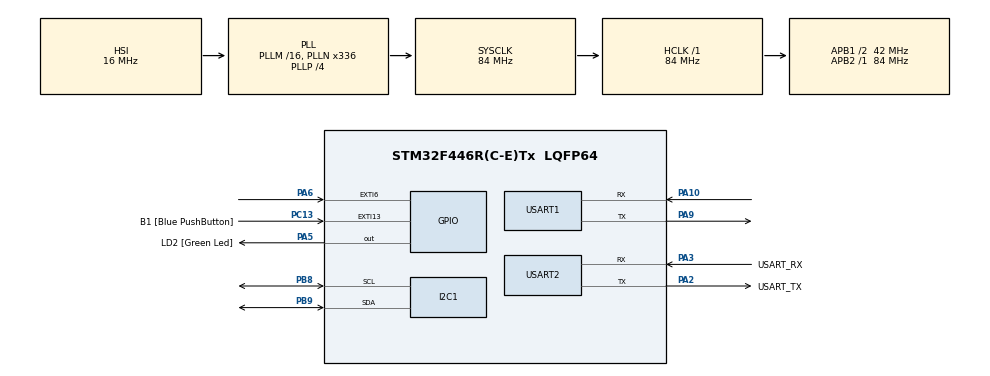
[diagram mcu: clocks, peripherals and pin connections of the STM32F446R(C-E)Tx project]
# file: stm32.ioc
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Mcu.Family=STM32F4
Mcu.Name=STM32F446R(C-E)Tx
Mcu.Package=LQFP64
NVIC.PriorityGroup=NVIC_PRIORITYGROUP_0
PA10.Mode=Asynchronous
PA10.Signal=USART1_RX
PA13.GPIO_Label=TMS
PA13.Mode=Serial_Wire
PA13.Signal=SYS_JTMS-SWDIO
PA14.GPIO_Label=TCK
PA14.Mode=Serial_Wire
PA14.Signal=SYS_JTCK-SWCLK
PA2.GPIO_Label=USART_TX
PA2.Mode=Asynchronous
PA2.Signal=USART2_TX
PA3.GPIO_Label=USART_RX
PA3.Mode=Asynchronous
PA3.Signal=USART2_RX
PA5.GPIO_Label=LD2 [Green Led]
PA5.Signal=GPIO_Output
PA6.Signal=GPXTI6
PA9.Mode=Asynchronous
PA9.Signal=USART1_TX
PB3.GPIO_Label=SWO
PB3.Signal=SYS_JTDO-SWO
PB8.Mode=I2C
PB8.Signal=I2C1_SCL
PB9.Mode=I2C
PB9.Signal=I2C1_SDA
PC13.GPIO_Label=B1 [Blue PushButton]
PC13.GPIO_ModeDefaultEXTI=GPIO_MODE_IT_FALLING
PC13.Signal=GPXTI13
PC14-OSC32_IN.Mode=LSE-External-Oscillator
PC14-OSC32_IN.Signal=RCC_OSC32_IN
PC15-OSC32_OUT.Mode=LSE-External-Oscillator
PC15-OSC32_OUT.Signal=RCC_OSC32_OUT
PH0-OSC_IN.Mode=HSE-External-Oscillator
PH0-OSC_IN.Signal=RCC_OSC_IN
PH1-OSC_OUT.Mode=HSE-External-Oscillator
PH1-OSC_OUT.Signal=RCC_OSC_OUT
ProjectManager.HeapSize=0x200
ProjectManager.StackSize=0x400
ProjectManager.TargetToolchain=Makefile
RCC.48MHZClocksFreq_Value=84000000
RCC.AHBFreq_Value=84000000
RCC.APB1CLKDivider=RCC_HCLK_DIV2
RCC.APB1Freq_Value=42000000
RCC.APB1TimFreq_Value=84000000
RCC.APB2Freq_Value=84000000
RCC.APB2TimFreq_Value=84000000
RCC.CortexFreq_Value=84000000
RCC.FLatency-AdvancedSettings=FLASH_LATENCY_2
RCC.HCLKFreq_Value=84000000
RCC.HSE_VALUE=8000000
RCC.HSI_VALUE=16000000
RCC.PLLN=336
RCC.PLLP=RCC_PLLP_DIV4
RCC.SYSCLKFreq_VALUE=84000000
RCC.SYSCLKSource=RCC_SYSCLKSOURCE_PLLCLK
RCC.USBFreq_Value=168000000
RCC.VCOOutputFreq_Value=336000000
USART1.VirtualMode=VM_ASYNC
USART2.VirtualMode=VM_ASYNC
board=NUCLEO-F446RE

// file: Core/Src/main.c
/* USER CODE BEGIN Header */
/**
  ******************************************************************************
  * @file           : main.c
  * @brief          : Main program body
  ******************************************************************************
  * @attention
  *
  * Copyright (c) 2026 STMicroelectronics.
  * All rights reserved.
  *
  * This software is licensed under terms that can be found in the LICENSE file
  * in the root directory of this software component.
  * If no LICENSE file comes with this software, it is provided AS-IS.
  *
  ******************************************************************************
  */
/* USER CODE END Header */
#include "main.h"

/* USER CODE BEGIN Includes */
#include "mpu6500.h"
#include "ins.h"
/* USER CODE END Includes */

I2C_HandleTypeDef hi2c1;

UART_HandleTypeDef huart1;
UART_HandleTypeDef huart2;

/* USER CODE BEGIN PV */
MPU6500_HandleTypeDef hmpu = {0};
MPU6500_OutputTypeDef mpu_out = {0};
INS_Position pos = {0};
// debug variables
int _loops = 0;
int _errors = 0;
/* USER CODE END PV */

void SystemClock_Config(void);
static void MX_GPIO_Init(void);
static void MX_I2C1_Init(void);
static void MX_USART1_UART_Init(void);
static void MX_USART2_UART_Init(void);

/* USER CODE BEGIN 0 */
void HAL_GPIO_EXTI_Callback(uint16_t GPIO_Pin)
{
    if (GPIO_Pin == GPIO_PIN_6)
    {
        MPU6500_IntCallback(&hmpu);
    }
}
/* USER CODE END 0 */

int main(void)
{

  /* USER CODE BEGIN 1 */
	INS_Vector accel_vec;
	INS_Vector gyro_vec;
  /* USER CODE END 1 */

  /* MCU Configuration--------------------------------------------------------*/

  /* Reset of all peripherals, Initializes the Flash interface and the Systick. */
  HAL_Init();

  /* Configure the system clock */
  SystemClock_Config();

  /* Initialize all configured peripherals */
  MX_GPIO_Init();
  MX_I2C1_Init();
  MX_USART1_UART_Init();
  MX_USART2_UART_Init();
  /* USER CODE BEGIN 2 */
  hmpu.hi2c = &hi2c1;
  // initialize device
  if(MPU6500_Init(&hmpu) != 0) Error_Handler();
  // set sample rate div to low frequency (1kHz/17)
  if(MPU6500_SetSampleRateDiv(&hmpu, 16) != 0) Error_Handler();
  /* Enable raw data ready interrupts */
  if(MPU6500_EnableInterrupts(&hmpu) != 0) Error_Handler();

  // initialize time on INS_Position pos. All other mem set to 0.
  pos.time_ms = HAL_GetTick();

  // get initial gyro and accel samples to calculate offsets
  const int offset_samples = 10;
  for(int i = 0; i < offset_samples; i++) {
	  while(hmpu.data_ready == 0)
	  {
		  /* SPIN */
	  }
	  hmpu.data_ready = 0;
	  if(MPU6500_GetGyro(&hmpu, &mpu_out) != 0) Error_Handler();
	  if(MPU6500_GetAccel(&hmpu, &mpu_out) != 0) Error_Handler();
	  pos.gyro_offset.x += mpu_out.gyro_xout;
	  pos.gyro_offset.y += mpu_out.gyro_yout;
	  pos.gyro_offset.z += mpu_out.gyro_zout;
	  pos.accel_offset.x += mpu_out.accel_xout;
	  pos.accel_offset.y += mpu_out.accel_yout;
	  pos.accel_offset.z += mpu_out.accel_zout;
  }
  pos.gyro_offset.x /= offset_samples;
  pos.gyro_offset.y /= offset_samples;
  pos.gyro_offset.z /= offset_samples;
  pos.accel_offset.x /= offset_samples;
  pos.accel_offset.y /= offset_samples;
  pos.accel_offset.z /= offset_samples;
  // add back in gravity
  pos.accel_offset.z -= 1.0f;
  /* USER CODE END 2 */

  /* Infinite loop */
  /* USER CODE BEGIN WHILE */
  while (1)
  {
	  while(hmpu.data_ready == 0)
	  {
		  /* SPIN */
	  }
	  // set data ready back to 0 in preparation for next interrupt
	  hmpu.data_ready = 0;
    /* USER CODE END WHILE */

    /* USER CODE BEGIN 3 */
	  if(MPU6500_GetAccel(&hmpu, &mpu_out) != 0) _errors++;
	  if(MPU6500_GetGyro(&hmpu, &mpu_out) != 0) _errors++;
	  //update vectors
	  accel_vec.x = mpu_out.accel_xout;
	  accel_vec.y = mpu_out.accel_yout;
	  accel_vec.z = mpu_out.accel_zout;
	  gyro_vec.x = mpu_out.gyro_xout;
	  gyro_vec.y = mpu_out.gyro_yout;
	  gyro_vec.z = mpu_out.gyro_zout;

	  INS_Update(&pos, &accel_vec, &gyro_vec, HAL_GetTick());
	  _loops++;
  }
  /* USER CODE END 3 */
}

void SystemClock_Config(void)
{
  RCC_OscInitTypeDef RCC_OscInitStruct = {0};
  RCC_ClkInitTypeDef RCC_ClkInitStruct = {0};

  /** Configure the main internal regulator output voltage
  */
  __HAL_RCC_PWR_CLK_ENABLE();
  __HAL_PWR_VOLTAGESCALING_CONFIG(PWR_REGULATOR_VOLTAGE_SCALE3);

  /** Initializes the RCC Oscillators according to the specified parameters
  * in the RCC_OscInitTypeDef structure.
  */
  RCC_OscInitStruct.OscillatorType = RCC_OSCILLATORTYPE_HSI;
  RCC_OscInitStruct.HSIState = RCC_HSI_ON;
  RCC_OscInitStruct.HSICalibrationValue = RCC_HSICALIBRATION_DEFAULT;
  RCC_OscInitStruct.PLL.PLLState = RCC_PLL_ON;
  RCC_OscInitStruct.PLL.PLLSource = RCC_PLLSOURCE_HSI;
  RCC_OscInitStruct.PLL.PLLM = 16;
  RCC_OscInitStruct.PLL.PLLN = 336;
  RCC_OscInitStruct.PLL.PLLP = RCC_PLLP_DIV4;
  RCC_OscInitStruct.PLL.PLLQ = 2;
  RCC_OscInitStruct.PLL.PLLR = 2;
  if (HAL_RCC_OscConfig(&RCC_OscInitStruct) != HAL_OK)
  {
    Error_Handler();
  }

  /** Initializes the CPU, AHB and APB buses clocks
  */
  RCC_ClkInitStruct.ClockType = RCC_CLOCKTYPE_HCLK|RCC_CLOCKTYPE_SYSCLK
                              |RCC_CLOCKTYPE_PCLK1|RCC_CLOCKTYPE_PCLK2;
  RCC_ClkInitStruct.SYSCLKSource = RCC_SYSCLKSOURCE_PLLCLK;
  RCC_ClkInitStruct.AHBCLKDivider = RCC_SYSCLK_DIV1;
  RCC_ClkInitStruct.APB1CLKDivider = RCC_HCLK_DIV2;
  RCC_ClkInitStruct.APB2CLKDivider = RCC_HCLK_DIV1;

  if (HAL_RCC_ClockConfig(&RCC_ClkInitStruct, FLASH_LATENCY_2) != HAL_OK)
  {
    Error_Handler();
  }
}

static void MX_I2C1_Init(void)
{

  /* USER CODE BEGIN I2C1_Init 0 */

// manually clock SCL to free stuck SDA
	GPIO_InitTypeDef GPIO_InitStruct = {0};
	__HAL_RCC_GPIOB_CLK_ENABLE();

// configure SCL as output
	GPIO_InitStruct.Pin = GPIO_PIN_8;
	GPIO_InitStruct.Mode = GPIO_MODE_OUTPUT_OD;
	GPIO_InitStruct.Pull = GPIO_NOPULL;
	GPIO_InitStruct.Speed = GPIO_SPEED_FREQ_LOW;
	HAL_GPIO_Init(GPIOB, &GPIO_InitStruct);

// clock SCL 9 times to unstick any stuck slave
	for(int i = 0; i < 9; i++)
	{
		HAL_GPIO_WritePin(GPIOB, GPIO_PIN_8, GPIO_PIN_RESET);
		HAL_Delay(1);
		HAL_GPIO_WritePin(GPIOB, GPIO_PIN_8, GPIO_PIN_SET);
		HAL_Delay(1);
	}
  /* USER CODE END I2C1_Init 0 */

  /* USER CODE BEGIN I2C1_Init 1 */
  __HAL_RCC_GPIOB_CLK_ENABLE();
  GPIO_InitStruct.Pin = GPIO_PIN_8 | GPIO_PIN_9;
  GPIO_InitStruct.Mode = GPIO_MODE_AF_OD;
  GPIO_InitStruct.Pull = GPIO_NOPULL;
  GPIO_InitStruct.Speed = GPIO_SPEED_FREQ_VERY_HIGH;
  GPIO_InitStruct.Alternate = GPIO_AF4_I2C1;
  HAL_GPIO_Init(GPIOB, &GPIO_InitStruct);

  /* USER CODE END I2C1_Init 1 */
  hi2c1.Instance = I2C1;
  hi2c1.Init.ClockSpeed = 100000;
  hi2c1.Init.DutyCycle = I2C_DUTYCYCLE_2;
  hi2c1.Init.OwnAddress1 = 0;
  hi2c1.Init.AddressingMode = I2C_ADDRESSINGMODE_7BIT;
  hi2c1.Init.DualAddressMode = I2C_DUALADDRESS_DISABLE;
  hi2c1.Init.OwnAddress2 = 0;
  hi2c1.Init.GeneralCallMode = I2C_GENERALCALL_DISABLE;
  hi2c1.Init.NoStretchMode = I2C_NOSTRETCH_DISABLE;
  if (HAL_I2C_Init(&hi2c1) != HAL_OK)
  {
    Error_Handler();
  }

}

static void MX_USART1_UART_Init(void)
{

  huart1.Instance = USART1;
  huart1.Init.BaudRate = 115200;
  huart1.Init.WordLength = UART_WORDLENGTH_8B;
  huart1.Init.StopBits = UART_STOPBITS_1;
  huart1.Init.Parity = UART_PARITY_NONE;
  huart1.Init.Mode = UART_MODE_TX_RX;
  huart1.Init.HwFlowCtl = UART_HWCONTROL_NONE;
  huart1.Init.OverSampling = UART_OVERSAMPLING_16;
  if (HAL_UART_Init(&huart1) != HAL_OK)
  {
    Error_Handler();
  }

}

static void MX_USART2_UART_Init(void)
{

  huart2.Instance = USART2;
  huart2.Init.BaudRate = 115200;
  huart2.Init.WordLength = UART_WORDLENGTH_8B;
  huart2.Init.StopBits = UART_STOPBITS_1;
  huart2.Init.Parity = UART_PARITY_NONE;
  huart2.Init.Mode = UART_MODE_TX_RX;
  huart2.Init.HwFlowCtl = UART_HWCONTROL_NONE;
  huart2.Init.OverSampling = UART_OVERSAMPLING_16;
  if (HAL_UART_Init(&huart2) != HAL_OK)
  {
    Error_Handler();
  }

}

static void MX_GPIO_Init(void)
{
  GPIO_InitTypeDef GPIO_InitStruct = {0};

  /* GPIO Ports Clock Enable */
  __HAL_RCC_GPIOC_CLK_ENABLE();
  __HAL_RCC_GPIOH_CLK_ENABLE();
  __HAL_RCC_GPIOA_CLK_ENABLE();
  __HAL_RCC_GPIOB_CLK_ENABLE();

  /*Configure GPIO pin Output Level */
  HAL_GPIO_WritePin(LD2_GPIO_Port, LD2_Pin, GPIO_PIN_RESET);

  /*Configure GPIO pin : B1_Pin */
  GPIO_InitStruct.Pin = B1_Pin;
  GPIO_InitStruct.Mode = GPIO_MODE_IT_FALLING;
  GPIO_InitStruct.Pull = GPIO_NOPULL;
  HAL_GPIO_Init(B1_GPIO_Port, &GPIO_InitStruct);

  /*Configure GPIO pin : LD2_Pin */
  GPIO_InitStruct.Pin = LD2_Pin;
  GPIO_InitStruct.Mode = GPIO_MODE_OUTPUT_PP;
  GPIO_InitStruct.Pull = GPIO_NOPULL;
  GPIO_InitStruct.Speed = GPIO_SPEED_FREQ_LOW;
  HAL_GPIO_Init(LD2_GPIO_Port, &GPIO_InitStruct);

  /*Configure GPIO pin : PA6 */
  GPIO_InitStruct.Pin = GPIO_PIN_6;
  GPIO_InitStruct.Mode = GPIO_MODE_IT_RISING;
  GPIO_InitStruct.Pull = GPIO_NOPULL;
  HAL_GPIO_Init(GPIOA, &GPIO_InitStruct);

  /* EXTI interrupt init*/
  HAL_NVIC_SetPriority(EXTI9_5_IRQn, 0, 0);
  HAL_NVIC_EnableIRQ(EXTI9_5_IRQn);

}

void Error_Handler(void)
{
  __disable_irq();
  while (1)
  {
  }
}
